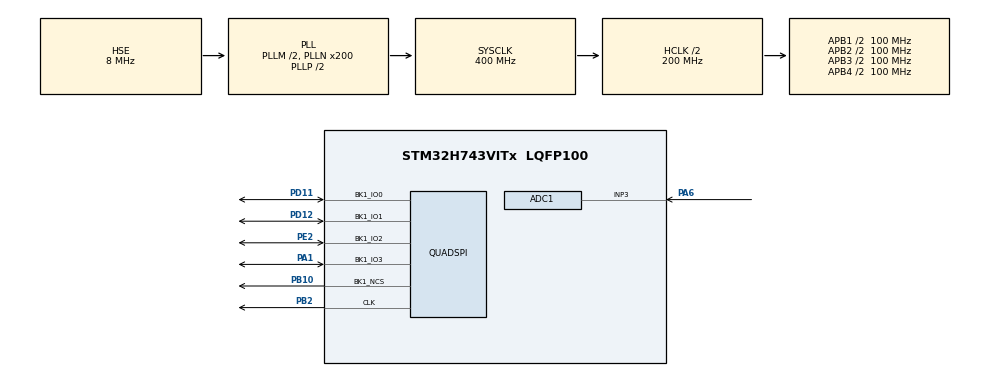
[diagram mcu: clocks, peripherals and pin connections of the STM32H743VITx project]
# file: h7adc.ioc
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ADC1.BoostMode=ENABLE
ADC1.Channel-0\#ChannelRegularConversion=ADC_CHANNEL_3
ADC1.ClockPrescaler=ADC_CLOCK_ASYNC_DIV4
ADC1.ContinuousConvMode=ENABLE
ADC1.ConversionDataManagement=ADC_CONVERSIONDATA_DMA_CIRCULAR
ADC1.DMAContinuousRequests=ENABLE
ADC1.DiscontinuousConvMode=DISABLE
ADC1.EOCSelection=ADC_EOC_SINGLE_CONV
ADC1.EnableAnalogWatchDog1=false
ADC1.EnableAnalogWatchDog2=false
ADC1.EnableAnalogWatchDog3=false
ADC1.EnableInjectedConversion=DISABLE
ADC1.EnableRegularConversion=ENABLE
ADC1.ExternalTrigConv=ADC_SOFTWARE_START
ADC1.ExternalTrigConvEdge=ADC_EXTERNALTRIGCONVEDGE_NONE
ADC1.LeftBitShift=ADC_LEFTBITSHIFT_NONE
ADC1.LowPowerAutoWait=DISABLE
ADC1.NbrOfConversion=1
ADC1.NbrOfConversionFlag=1
ADC1.OffsetNumber-0\#ChannelRegularConversion=ADC_OFFSET_NONE
ADC1.Overrun=ADC_OVR_DATA_OVERWRITTEN
ADC1.OversamplingMode=DISABLE
ADC1.Rank-0\#ChannelRegularConversion=1
ADC1.Resolution=ADC_RESOLUTION_8B
ADC1.SamplingTime-0\#ChannelRegularConversion=ADC_SAMPLETIME_1CYCLE_5
ADC1.ScanConvMode=ADC_SCAN_DISABLE
ADC1.master=1
Dma.ADC1.0.Direction=DMA_PERIPH_TO_MEMORY
Dma.ADC1.0.EventEnable=DISABLE
Dma.ADC1.0.FIFOMode=DMA_FIFOMODE_DISABLE
Dma.ADC1.0.Instance=DMA1_Stream0
Dma.ADC1.0.MemDataAlignment=DMA_MDATAALIGN_BYTE
Dma.ADC1.0.MemInc=DMA_MINC_ENABLE
Dma.ADC1.0.Mode=DMA_CIRCULAR
Dma.ADC1.0.PeriphDataAlignment=DMA_PDATAALIGN_BYTE
Dma.ADC1.0.PeriphInc=DMA_PINC_DISABLE
Dma.ADC1.0.Polarity=HAL_DMAMUX_REQ_GEN_RISING
Dma.ADC1.0.Priority=DMA_PRIORITY_MEDIUM
Dma.ADC1.0.RequestNumber=1
Dma.ADC1.0.SyncEnable=DISABLE
Dma.ADC1.0.SyncPolarity=HAL_DMAMUX_SYNC_NO_EVENT
Dma.ADC1.0.SyncRequestNumber=1
Dma.Request0=ADC1
Mcu.Family=STM32H7
Mcu.Name=STM32H743VITx
Mcu.Package=LQFP100
NVIC.DMA1_Stream0_IRQn=true\:0\:0\:false\:false\:true\:false
NVIC.PriorityGroup=NVIC_PRIORITYGROUP_4
PA1.Mode=Single Bank 1
PA1.Signal=QUADSPI_BK1_IO3
PA13.Mode=Trace_Asynchronous_SW
PA13.Signal=SYS_JTMS-SWDIO
PA14.Mode=Trace_Asynchronous_SW
PA14.Signal=SYS_JTCK-SWCLK
PA6.Signal=ADCx_INP3
PB10.Mode=Single Bank 1
PB10.Signal=QUADSPI_BK1_NCS
PB2.Mode=Single Bank 1
PB2.Signal=QUADSPI_CLK
PB3.Mode=Trace_Asynchronous_SW
PB3.Signal=SYS_JTDO-SWO
PD11.Mode=Single Bank 1
PD11.Signal=QUADSPI_BK1_IO0
PD12.Mode=Single Bank 1
PD12.Signal=QUADSPI_BK1_IO1
PE2.Mode=Single Bank 1
PE2.Signal=QUADSPI_BK1_IO2
PH0-OSC_IN.Mode=HSE-External-Oscillator
PH0-OSC_IN.Signal=RCC_OSC_IN
PH1-OSC_OUT.Mode=HSE-External-Oscillator
PH1-OSC_OUT.Signal=RCC_OSC_OUT
ProjectManager.HeapSize=0x200
ProjectManager.StackSize=0x400
ProjectManager.TargetToolchain=SW4STM32
RCC.ADCFreq_Value=100000000
RCC.APB1Freq_Value=100000000
RCC.APB2Freq_Value=100000000
RCC.APB3Freq_Value=100000000
RCC.APB4Freq_Value=100000000
RCC.CortexFreq_Value=400000000
RCC.D1PPRE=RCC_APB3_DIV2
RCC.D2PPRE1=RCC_APB1_DIV2
RCC.D2PPRE2=RCC_APB2_DIV2
RCC.D3PPRE=RCC_APB4_DIV2
RCC.DIVM1=2
RCC.DIVM2=2
RCC.DIVN1=200
RCC.DIVN2=100
RCC.DIVN3=200
RCC.DIVP2=4
RCC.EnbaleCSS=true
RCC.HCLKFreq_Value=200000000
RCC.HPRE=RCC_HCLK_DIV2
RCC.HSE_VALUE=8000000
RCC.PLLSourceVirtual=RCC_PLLSOURCE_HSE
RCC.SYSCLKFreq_VALUE=400000000
RCC.SYSCLKSource=RCC_SYSCLKSOURCE_PLLCLK
RCC.USBFreq_Value=400000000
SH.ADCx_INP3.0=ADC1_INP3,IN3-Single-Ended
board=h7adc

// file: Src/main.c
/**
  ******************************************************************************
  * @file           : main.c
  * @brief          : Main program body
  ******************************************************************************
  ** This notice applies to any and all portions of this file
  * that are not between comment pairs USER CODE BEGIN and
  * USER CODE END. Other portions of this file, whether
  * inserted by the user or by software development tools
  * are owned by their respective copyright owners.
  *
  * COPYRIGHT(c) 2018 STMicroelectronics
  *
  * Redistribution and use in source and binary forms, with or without modification,
  * are permitted provided that the following conditions are met:
  *   1. Redistributions of source code must retain the above copyright notice,
  *      this list of conditions and the following disclaimer.
  *   2. Redistributions in binary form must reproduce the above copyright notice,
  *      this list of conditions and the following disclaimer in the documentation
  *      and/or other materials provided with the distribution.
  *   3. Neither the name of STMicroelectronics nor the names of its contributors
  *      may be used to endorse or promote products derived from this software
  *      without specific prior written permission.
  *
  * THIS SOFTWARE IS PROVIDED BY THE COPYRIGHT HOLDERS AND CONTRIBUTORS "AS IS"
  * AND ANY EXPRESS OR IMPLIED WARRANTIES, INCLUDING, BUT NOT LIMITED TO, THE
  * IMPLIED WARRANTIES OF MERCHANTABILITY AND FITNESS FOR A PARTICULAR PURPOSE ARE
  * DISCLAIMED. IN NO EVENT SHALL THE COPYRIGHT HOLDER OR CONTRIBUTORS BE LIABLE
  * FOR ANY DIRECT, INDIRECT, INCIDENTAL, SPECIAL, EXEMPLARY, OR CONSEQUENTIAL
  * DAMAGES (INCLUDING, BUT NOT LIMITED TO, PROCUREMENT OF SUBSTITUTE GOODS OR
  * SERVICES; LOSS OF USE, DATA, OR PROFITS; OR BUSINESS INTERRUPTION) HOWEVER
  * CAUSED AND ON ANY THEORY OF LIABILITY, WHETHER IN CONTRACT, STRICT LIABILITY,
  * OR TORT (INCLUDING NEGLIGENCE OR OTHERWISE) ARISING IN ANY WAY OUT OF THE USE
  * OF THIS SOFTWARE, EVEN IF ADVISED OF THE POSSIBILITY OF SUCH DAMAGE.
  *
  ******************************************************************************
  */
#include "main.h"
#include "stm32h7xx_hal.h"

ADC_HandleTypeDef hadc1;
DMA_HandleTypeDef hdma_adc1;

QSPI_HandleTypeDef hqspi;

/* USER CODE BEGIN PV */
/* Private variables ---------------------------------------------------------*/

/* USER CODE END PV */

void SystemClock_Config(void);
static void MX_GPIO_Init(void);
static void MX_DMA_Init(void);
static void MX_ADC1_Init(void);
static void MX_QUADSPI_Init(void);

/* USER CODE BEGIN PFP */
/* Private function prototypes -----------------------------------------------*/

/* USER CODE END PFP */

/* USER CODE BEGIN 0 */
#define LED1_Pin GPIO_PIN_0
#define LED1_GPIO_Port GPIOB
#define LED3_Pin GPIO_PIN_14
#define LED3_GPIO_Port GPIOB
#define LED2_Pin GPIO_PIN_7
#define LED2_GPIO_Port GPIOB
static void GPIO_Init(void);

#define __SECTION_AXIRAM __attribute__((section(".RAM_AXI"))) /* AXI SRAM (D1 domain): */
#define __SECTION_RAM_D2 __attribute__((section(".RAM_D2"))) /* AHB SRAM (D2 domain): */
#define __SECTION_RAM_D3 __attribute__((section(".RAM_D3"))) /* AHB SRAM (D3 domain): */

#define BUF_SIZE 2048
__SECTION_AXIRAM uint8_t samplesBuffer[BUF_SIZE];
uint8_t firstHalf = 0;

static void GPIO_Init(void)
{
    GPIO_InitTypeDef GPIO_InitStruct;

    /* GPIO Ports Clock Enable */
    __HAL_RCC_GPIOC_CLK_ENABLE();
    __HAL_RCC_GPIOH_CLK_ENABLE();
    __HAL_RCC_GPIOA_CLK_ENABLE();
    __HAL_RCC_GPIOB_CLK_ENABLE();
    __HAL_RCC_GPIOE_CLK_ENABLE();
    __HAL_RCC_GPIOD_CLK_ENABLE();

    /*Configure GPIO pin Output Level */
    HAL_GPIO_WritePin(GPIOB, LED1_Pin|LED3_Pin|LED2_Pin, GPIO_PIN_RESET);

    /*Configure GPIO pins : LED1_Pin LED3_Pin LED2_Pin */
    GPIO_InitStruct.Pin = LED1_Pin|LED3_Pin|LED2_Pin;
    GPIO_InitStruct.Mode = GPIO_MODE_OUTPUT_PP;
    GPIO_InitStruct.Pull = GPIO_NOPULL;
    GPIO_InitStruct.Speed = GPIO_SPEED_FREQ_LOW;
    HAL_GPIO_Init(GPIOB, &GPIO_InitStruct);
}

/* USER CODE END 0 */

int main(void)
{

  /* MCU Configuration----------------------------------------------------------*/

  /* Reset of all peripherals, Initializes the Flash interface and the Systick. */
  HAL_Init();

  /* Configure the system clock */
  SystemClock_Config();

  /* Initialize all configured peripherals */
  MX_GPIO_Init();
  MX_DMA_Init();
  MX_ADC1_Init();
  MX_QUADSPI_Init();
  /* USER CODE BEGIN 2 */

  HAL_ADC_Start_DMA(&hadc1, (uint32_t *) samplesBuffer, BUF_SIZE);

  GPIO_Init();
  HAL_GPIO_TogglePin(LED2_GPIO_Port, LED2_Pin);

  /* USER CODE END 2 */

  /* Infinite loop */
  /* USER CODE BEGIN WHILE */
#pragma clang diagnostic ignored "-Wmissing-noreturn"
  while (1)
  {

    HAL_GPIO_TogglePin(LED1_GPIO_Port, LED1_Pin);
#ifdef LED2_Pin
    HAL_GPIO_TogglePin(LED2_GPIO_Port, LED2_Pin);
#endif
#ifdef LED3_Pin
    HAL_GPIO_TogglePin(LED3_GPIO_Port, LED3_Pin);
#endif

  HAL_Delay(300);
  /* USER CODE END WHILE */

  }

}

void SystemClock_Config(void)
{

  RCC_OscInitTypeDef RCC_OscInitStruct;
  RCC_ClkInitTypeDef RCC_ClkInitStruct;
  RCC_PeriphCLKInitTypeDef PeriphClkInitStruct;

    /**Supply configuration update enable
    */
  MODIFY_REG(PWR->CR3, PWR_CR3_SCUEN, 0);

    /**Configure the main internal regulator output voltage
    */
  __HAL_PWR_VOLTAGESCALING_CONFIG(PWR_REGULATOR_VOLTAGE_SCALE1);

  while ((PWR->D3CR & (PWR_D3CR_VOSRDY)) != PWR_D3CR_VOSRDY)
  {

  }
    /**Macro to configure the PLL clock source
    */
  __HAL_RCC_PLL_PLLSOURCE_CONFIG(RCC_PLLSOURCE_HSE);

    /**Initializes the CPU, AHB and APB busses clocks
    */
  RCC_OscInitStruct.OscillatorType = RCC_OSCILLATORTYPE_HSE;
  RCC_OscInitStruct.HSEState = RCC_HSE_ON;
  RCC_OscInitStruct.PLL.PLLState = RCC_PLL_ON;
  RCC_OscInitStruct.PLL.PLLSource = RCC_PLLSOURCE_HSE;
  RCC_OscInitStruct.PLL.PLLM = 2;
  RCC_OscInitStruct.PLL.PLLN = 200;
  RCC_OscInitStruct.PLL.PLLP = 2;
  RCC_OscInitStruct.PLL.PLLQ = 2;
  RCC_OscInitStruct.PLL.PLLR = 2;
  RCC_OscInitStruct.PLL.PLLRGE = RCC_PLL1VCIRANGE_2;
  RCC_OscInitStruct.PLL.PLLVCOSEL = RCC_PLL1VCOWIDE;
  RCC_OscInitStruct.PLL.PLLFRACN = 0;
  if (HAL_RCC_OscConfig(&RCC_OscInitStruct) != HAL_OK)
  {
    _Error_Handler(__FILE__, __LINE__);
  }

    /**Initializes the CPU, AHB and APB busses clocks
    */
  RCC_ClkInitStruct.ClockType = RCC_CLOCKTYPE_HCLK|RCC_CLOCKTYPE_SYSCLK
                              |RCC_CLOCKTYPE_PCLK1|RCC_CLOCKTYPE_PCLK2
                              |RCC_CLOCKTYPE_D3PCLK1|RCC_CLOCKTYPE_D1PCLK1;
  RCC_ClkInitStruct.SYSCLKSource = RCC_SYSCLKSOURCE_PLLCLK;
  RCC_ClkInitStruct.SYSCLKDivider = RCC_SYSCLK_DIV1;
  RCC_ClkInitStruct.AHBCLKDivider = RCC_HCLK_DIV2;
  RCC_ClkInitStruct.APB3CLKDivider = RCC_APB3_DIV2;
  RCC_ClkInitStruct.APB1CLKDivider = RCC_APB1_DIV2;
  RCC_ClkInitStruct.APB2CLKDivider = RCC_APB2_DIV2;
  RCC_ClkInitStruct.APB4CLKDivider = RCC_APB4_DIV2;

  if (HAL_RCC_ClockConfig(&RCC_ClkInitStruct, FLASH_LATENCY_2) != HAL_OK)
  {
    _Error_Handler(__FILE__, __LINE__);
  }

  PeriphClkInitStruct.PeriphClockSelection = RCC_PERIPHCLK_ADC|RCC_PERIPHCLK_QSPI;
  PeriphClkInitStruct.PLL2.PLL2M = 2;
  PeriphClkInitStruct.PLL2.PLL2N = 100;
  PeriphClkInitStruct.PLL2.PLL2P = 4;
  PeriphClkInitStruct.PLL2.PLL2Q = 2;
  PeriphClkInitStruct.PLL2.PLL2R = 2;
  PeriphClkInitStruct.PLL2.PLL2RGE = RCC_PLL2VCIRANGE_2;
  PeriphClkInitStruct.PLL2.PLL2VCOSEL = RCC_PLL2VCOWIDE;
  PeriphClkInitStruct.PLL2.PLL2FRACN = 0;
  PeriphClkInitStruct.QspiClockSelection = RCC_QSPICLKSOURCE_D1HCLK;
  PeriphClkInitStruct.AdcClockSelection = RCC_ADCCLKSOURCE_PLL2;
  if (HAL_RCCEx_PeriphCLKConfig(&PeriphClkInitStruct) != HAL_OK)
  {
    _Error_Handler(__FILE__, __LINE__);
  }

    /**Enables the Clock Security System
    */
  HAL_RCC_EnableCSS();

    /**Configure the Systick interrupt time
    */
  HAL_SYSTICK_Config(SystemCoreClock/1000);

    /**Configure the Systick
    */
  HAL_SYSTICK_CLKSourceConfig(SYSTICK_CLKSOURCE_HCLK);

  /* SysTick_IRQn interrupt configuration */
  HAL_NVIC_SetPriority(SysTick_IRQn, 0, 0);
}

/* ADC1 init function */
static void MX_ADC1_Init(void)
{

  ADC_MultiModeTypeDef multimode;
  ADC_ChannelConfTypeDef sConfig;

    /**Common config
    */
  hadc1.Instance = ADC1;
  hadc1.Init.ClockPrescaler = ADC_CLOCK_ASYNC_DIV4;
  hadc1.Init.Resolution = ADC_RESOLUTION_8B;
  hadc1.Init.ScanConvMode = ADC_SCAN_DISABLE;
  hadc1.Init.EOCSelection = ADC_EOC_SINGLE_CONV;
  hadc1.Init.LowPowerAutoWait = DISABLE;
  hadc1.Init.ContinuousConvMode = ENABLE;
  hadc1.Init.NbrOfConversion = 1;
  hadc1.Init.DiscontinuousConvMode = DISABLE;
  hadc1.Init.NbrOfDiscConversion = 1;
  hadc1.Init.ExternalTrigConv = ADC_SOFTWARE_START;
  hadc1.Init.ExternalTrigConvEdge = ADC_EXTERNALTRIGCONVEDGE_NONE;
  hadc1.Init.ConversionDataManagement = ADC_CONVERSIONDATA_DMA_CIRCULAR;
  hadc1.Init.Overrun = ADC_OVR_DATA_OVERWRITTEN;
  hadc1.Init.LeftBitShift = ADC_LEFTBITSHIFT_NONE;
  hadc1.Init.BoostMode = ENABLE;
  hadc1.Init.OversamplingMode = DISABLE;
  if (HAL_ADC_Init(&hadc1) != HAL_OK)
  {
    _Error_Handler(__FILE__, __LINE__);
  }

    /**Configure the ADC multi-mode
    */
  multimode.Mode = ADC_MODE_INDEPENDENT;
  if (HAL_ADCEx_MultiModeConfigChannel(&hadc1, &multimode) != HAL_OK)
  {
    _Error_Handler(__FILE__, __LINE__);
  }

    /**Configure Regular Channel
    */
  sConfig.Channel = ADC_CHANNEL_3;
  sConfig.Rank = ADC_REGULAR_RANK_1;
  sConfig.SamplingTime = ADC_SAMPLETIME_1CYCLE_5;
  sConfig.SingleDiff = ADC_SINGLE_ENDED;
  sConfig.OffsetNumber = ADC_OFFSET_NONE;
  sConfig.Offset = 0;
  if (HAL_ADC_ConfigChannel(&hadc1, &sConfig) != HAL_OK)
  {
    _Error_Handler(__FILE__, __LINE__);
  }

}

/* QUADSPI init function */
static void MX_QUADSPI_Init(void)
{

  /* QUADSPI parameter configuration*/
  hqspi.Instance = QUADSPI;
  hqspi.Init.ClockPrescaler = 255;
  hqspi.Init.FifoThreshold = 1;
  hqspi.Init.SampleShifting = QSPI_SAMPLE_SHIFTING_NONE;
  hqspi.Init.FlashSize = 1;
  hqspi.Init.ChipSelectHighTime = QSPI_CS_HIGH_TIME_1_CYCLE;
  hqspi.Init.ClockMode = QSPI_CLOCK_MODE_0;
  hqspi.Init.FlashID = QSPI_FLASH_ID_1;
  hqspi.Init.DualFlash = QSPI_DUALFLASH_DISABLE;
  if (HAL_QSPI_Init(&hqspi) != HAL_OK)
  {
    _Error_Handler(__FILE__, __LINE__);
  }

}

static void MX_DMA_Init(void)
{
  /* DMA controller clock enable */
  __HAL_RCC_DMA1_CLK_ENABLE();

  /* DMA interrupt init */
  /* DMA1_Stream0_IRQn interrupt configuration */
  HAL_NVIC_SetPriority(DMA1_Stream0_IRQn, 0, 0);
  HAL_NVIC_EnableIRQ(DMA1_Stream0_IRQn);

}

/** Configure pins as
        * Analog
        * Input
        * Output
        * EVENT_OUT
        * EXTI
*/
static void MX_GPIO_Init(void)
{

  /* GPIO Ports Clock Enable */
  __HAL_RCC_GPIOE_CLK_ENABLE();
  __HAL_RCC_GPIOH_CLK_ENABLE();
  __HAL_RCC_GPIOA_CLK_ENABLE();
  __HAL_RCC_GPIOB_CLK_ENABLE();
  __HAL_RCC_GPIOD_CLK_ENABLE();

}

void _Error_Handler(char *file, int line)
{
  while(1)
  {
  }
}

/************************ (C) COPYRIGHT STMicroelectronics *****END OF FILE****/
